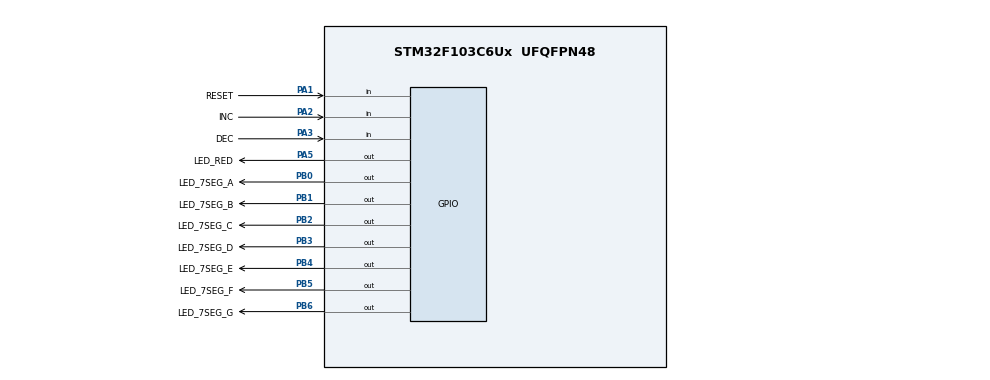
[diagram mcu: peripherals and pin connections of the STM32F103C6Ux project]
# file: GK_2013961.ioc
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Mcu.Family=STM32F1
Mcu.Name=STM32F103C6Ux
Mcu.Package=UFQFPN48
NVIC.PriorityGroup=NVIC_PRIORITYGROUP_4
NVIC.TIM2_IRQn=true\:0\:0\:false\:false\:true\:true\:true
PA1.GPIO_Label=RESET
PA1.GPIO_PuPd=GPIO_PULLUP
PA1.Signal=GPIO_Input
PA2.GPIO_Label=INC
PA2.GPIO_PuPd=GPIO_PULLUP
PA2.Signal=GPIO_Input
PA3.GPIO_Label=DEC
PA3.GPIO_PuPd=GPIO_PULLUP
PA3.Signal=GPIO_Input
PA5.GPIO_Label=LED_RED
PA5.Signal=GPIO_Output
PB0.GPIO_Label=LED_7SEG_A
PB0.Signal=GPIO_Output
PB1.GPIO_Label=LED_7SEG_B
PB1.Signal=GPIO_Output
PB2.GPIO_Label=LED_7SEG_C
PB2.Signal=GPIO_Output
PB3.GPIO_Label=LED_7SEG_D
PB3.Signal=GPIO_Output
PB4.GPIO_Label=LED_7SEG_E
PB4.Signal=GPIO_Output
PB5.GPIO_Label=LED_7SEG_F
PB5.Signal=GPIO_Output
PB6.GPIO_Label=LED_7SEG_G
PB6.Signal=GPIO_Output
ProjectManager.HeapSize=0x200
ProjectManager.StackSize=0x400
ProjectManager.TargetToolchain=STM32CubeIDE
RCC.APB1Freq_Value=8000000
RCC.APB2Freq_Value=8000000
TIM2.Period=10
TIM2.Prescaler=7999
VP_SYS_VS_ND.Mode=No_Debug
VP_TIM2_VS_ClockSourceINT.Mode=Internal
board=custom

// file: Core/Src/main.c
/* USER CODE BEGIN Header */
/**
  ******************************************************************************
  * @file           : main.c
  * @brief          : Main program body
  ******************************************************************************
  * @attention
  *
  * <h2><center>&copy; Copyright (c) 2022 STMicroelectronics.
  * All rights reserved.</center></h2>
  *
  * This software component is licensed by ST under BSD 3-Clause license,
  * the "License"; You may not use this file except in compliance with the
  * License. You may obtain a copy of the License at:
  *                        opensource.org/licenses/BSD-3-Clause
  *
  ******************************************************************************
  */
/* USER CODE END Header */
#include <fsm_system.h>
#include "main.h"

/* USER CODE BEGIN Includes */
#include "global.h"
#include "timer.h"
#include "button.h"
#include "led_7_seg.h"
/* USER CODE END Includes */

TIM_HandleTypeDef htim2;

void SystemClock_Config(void);
static void MX_TIM2_Init(void);
static void MX_GPIO_Init(void);

int main(void)
{

  /* MCU Configuration--------------------------------------------------------*/

  /* Reset of all peripherals, Initializes the Flash interface and the Systick. */
  HAL_Init();

  /* Configure the system clock */
  SystemClock_Config();

  /* Initialize all configured peripherals */
  MX_TIM2_Init();
  MX_GPIO_Init();
  /* USER CODE BEGIN 2 */
HAL_TIM_Base_Start_IT(&htim2);
  /* USER CODE END 2 */

  /* Infinite loop */
  /* USER CODE BEGIN WHILE */

state_of_system = INIT;

HAL_GPIO_WritePin(GPIOA, LED_RED_Pin, GPIO_PIN_SET);

  while (1)
  {
	  blinking_led_red();
	  display_led_7seg(counter);
	  fms_for_button();
	  fsm_simple_buttons_run();
	  fsm_long_buttons_run();
	  fsm_timeout_10s_run();
    /* USER CODE END WHILE */

  }
}

void SystemClock_Config(void)
{
  RCC_OscInitTypeDef RCC_OscInitStruct = {0};
  RCC_ClkInitTypeDef RCC_ClkInitStruct = {0};

  /** Initializes the RCC Oscillators according to the specified parameters
  * in the RCC_OscInitTypeDef structure.
  */
  RCC_OscInitStruct.OscillatorType = RCC_OSCILLATORTYPE_HSI;
  RCC_OscInitStruct.HSIState = RCC_HSI_ON;
  RCC_OscInitStruct.HSICalibrationValue = RCC_HSICALIBRATION_DEFAULT;
  RCC_OscInitStruct.PLL.PLLState = RCC_PLL_NONE;
  if (HAL_RCC_OscConfig(&RCC_OscInitStruct) != HAL_OK)
  {
    Error_Handler();
  }
  /** Initializes the CPU, AHB and APB buses clocks
  */
  RCC_ClkInitStruct.ClockType = RCC_CLOCKTYPE_HCLK|RCC_CLOCKTYPE_SYSCLK
                              |RCC_CLOCKTYPE_PCLK1|RCC_CLOCKTYPE_PCLK2;
  RCC_ClkInitStruct.SYSCLKSource = RCC_SYSCLKSOURCE_HSI;
  RCC_ClkInitStruct.AHBCLKDivider = RCC_SYSCLK_DIV1;
  RCC_ClkInitStruct.APB1CLKDivider = RCC_HCLK_DIV1;
  RCC_ClkInitStruct.APB2CLKDivider = RCC_HCLK_DIV1;

  if (HAL_RCC_ClockConfig(&RCC_ClkInitStruct, FLASH_LATENCY_0) != HAL_OK)
  {
    Error_Handler();
  }
}

static void MX_TIM2_Init(void)
{

  TIM_ClockConfigTypeDef sClockSourceConfig = {0};
  TIM_MasterConfigTypeDef sMasterConfig = {0};

  htim2.Instance = TIM2;
  htim2.Init.Prescaler = 7999;
  htim2.Init.CounterMode = TIM_COUNTERMODE_UP;
  htim2.Init.Period = 10;
  htim2.Init.ClockDivision = TIM_CLOCKDIVISION_DIV1;
  htim2.Init.AutoReloadPreload = TIM_AUTORELOAD_PRELOAD_DISABLE;
  if (HAL_TIM_Base_Init(&htim2) != HAL_OK)
  {
    Error_Handler();
  }
  sClockSourceConfig.ClockSource = TIM_CLOCKSOURCE_INTERNAL;
  if (HAL_TIM_ConfigClockSource(&htim2, &sClockSourceConfig) != HAL_OK)
  {
    Error_Handler();
  }
  sMasterConfig.MasterOutputTrigger = TIM_TRGO_RESET;
  sMasterConfig.MasterSlaveMode = TIM_MASTERSLAVEMODE_DISABLE;
  if (HAL_TIMEx_MasterConfigSynchronization(&htim2, &sMasterConfig) != HAL_OK)
  {
    Error_Handler();
  }

}

static void MX_GPIO_Init(void)
{
  GPIO_InitTypeDef GPIO_InitStruct = {0};

  /* GPIO Ports Clock Enable */
  __HAL_RCC_GPIOA_CLK_ENABLE();
  __HAL_RCC_GPIOB_CLK_ENABLE();

  /*Configure GPIO pin Output Level */
  HAL_GPIO_WritePin(LED_RED_GPIO_Port, LED_RED_Pin, GPIO_PIN_RESET);

  /*Configure GPIO pin Output Level */
  HAL_GPIO_WritePin(GPIOB, LED_7SEG_A_Pin|LED_7SEG_B_Pin|LED_7SEG_C_Pin|LED_7SEG_D_Pin
                          |LED_7SEG_E_Pin|LED_7SEG_F_Pin|LED_7SEG_G_Pin, GPIO_PIN_RESET);

  /*Configure GPIO pins : RESET_Pin INC_Pin DEC_Pin */
  GPIO_InitStruct.Pin = RESET_Pin|INC_Pin|DEC_Pin;
  GPIO_InitStruct.Mode = GPIO_MODE_INPUT;
  GPIO_InitStruct.Pull = GPIO_PULLUP;
  HAL_GPIO_Init(GPIOA, &GPIO_InitStruct);

  /*Configure GPIO pin : LED_RED_Pin */
  GPIO_InitStruct.Pin = LED_RED_Pin;
  GPIO_InitStruct.Mode = GPIO_MODE_OUTPUT_PP;
  GPIO_InitStruct.Pull = GPIO_NOPULL;
  GPIO_InitStruct.Speed = GPIO_SPEED_FREQ_LOW;
  HAL_GPIO_Init(LED_RED_GPIO_Port, &GPIO_InitStruct);

  /*Configure GPIO pins : LED_7SEG_A_Pin LED_7SEG_B_Pin LED_7SEG_C_Pin LED_7SEG_D_Pin
                           LED_7SEG_E_Pin LED_7SEG_F_Pin LED_7SEG_G_Pin */
  GPIO_InitStruct.Pin = LED_7SEG_A_Pin|LED_7SEG_B_Pin|LED_7SEG_C_Pin|LED_7SEG_D_Pin
                          |LED_7SEG_E_Pin|LED_7SEG_F_Pin|LED_7SEG_G_Pin;
  GPIO_InitStruct.Mode = GPIO_MODE_OUTPUT_PP;
  GPIO_InitStruct.Pull = GPIO_NOPULL;
  GPIO_InitStruct.Speed = GPIO_SPEED_FREQ_LOW;
  HAL_GPIO_Init(GPIOB, &GPIO_InitStruct);

}

/* USER CODE BEGIN 4 */
void HAL_TIM_PeriodElapsedCallback(TIM_HandleTypeDef *htim){

	timer_run();
	read_input();
}
/* USER CODE END 4 */

void Error_Handler(void)
{
  __disable_irq();
  while (1)
  {
  }
}

/************************ (C) COPYRIGHT STMicroelectronics *****END OF FILE****/
